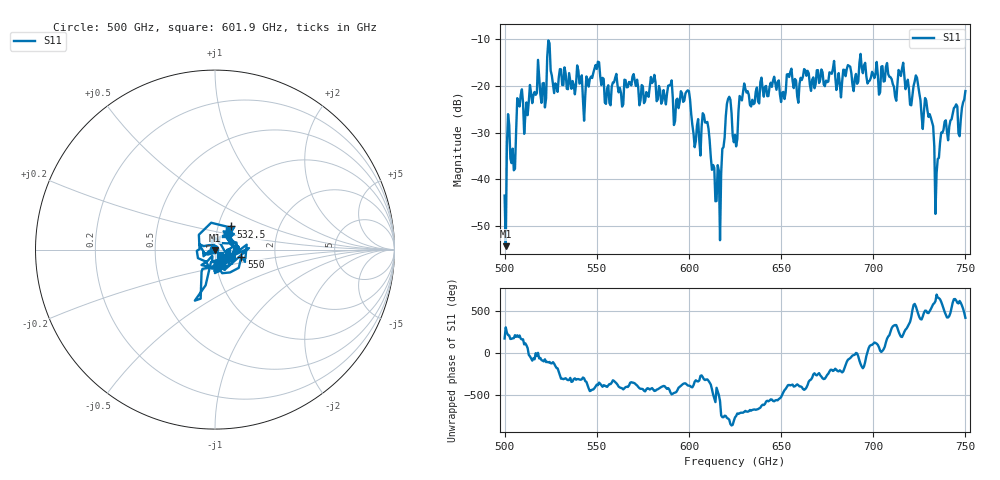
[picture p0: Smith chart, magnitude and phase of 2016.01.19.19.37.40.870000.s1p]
!Created with skrf (http://scikit-rf.org).
# GHz S RI R 50.0
!freq ReS11 ImS11
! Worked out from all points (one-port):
!   401 points, 500 GHz to 750 GHz, reference 50 ohm
!   lowest |S11| = -54.3 dB at 500.6 GHz (marker M1), VSWR 1.00, Z = 50.1 - j0.158 ohm
!   |S11| at or under -10 dB: start of sweep to end of sweep
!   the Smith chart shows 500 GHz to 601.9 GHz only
!   S11 on the Smith chart (normalised r, x): 500 GHz: 0.99, +0.00; 532.5 GHz: 1.15, +0.31; 550 GHz: 1.34, -0.11; 601.9 GHz: 1.05, -0.06
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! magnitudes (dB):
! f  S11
! 500 GHz  -43.5
! 500.6 GHz  -54.3
! 502.5 GHz  -28.4
! 505 GHz  -38.1
! 508.1 GHz  -24.4
! 521.2 GHz  -19.4
! 524.4 GHz  -10.9
! 527.5 GHz  -19.5
! 531.2 GHz  -19.8
! 532.5 GHz  -16.1
! 543.8 GHz  -22.1
! 550 GHz  -16.4
! 562.5 GHz  -20.4
! 593.8 GHz  -22.8
! 599.4 GHz  -21.0
! 601.9 GHz  -28.4
! 609.4 GHz  -27.9
! 615.6 GHz  -37.0
! 621.2 GHz  -22.8
! 625 GHz  -30.5
! 630.6 GHz  -20.6
! 656.2 GHz  -19.0
! 687.5 GHz  -15.9
! 718.8 GHz  -18.7
! 729.4 GHz  -25.2
! 734.4 GHz  -38.6
! 738.1 GHz  -29.4
! 750 GHz  -21.1
